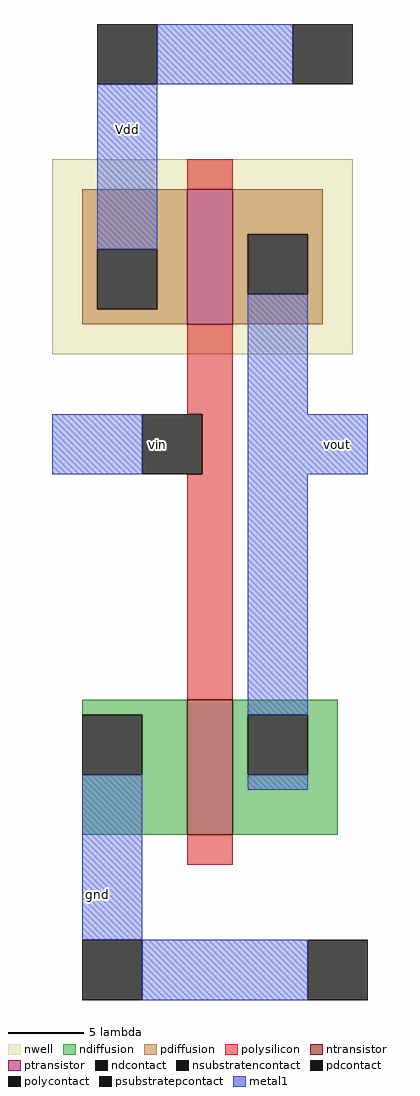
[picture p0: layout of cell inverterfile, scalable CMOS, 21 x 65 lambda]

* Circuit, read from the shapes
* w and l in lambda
.subckt inverterfile Vdd gnd vin vout
M1 vout vin gnd gnd nfet w=9 l=3
M2 vout vin Vdd n1 pfet w=9 l=3
.ends

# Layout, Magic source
magic
tech scmos
<< nwell >>
rect -8 -5 12 8
<< polysilicon >>
rect 1 6 4 8
rect 1 -9 4 -3
rect 2 -13 4 -9
rect 1 -28 4 -13
rect 1 -39 4 -37
<< ndiffusion >>
rect -6 -29 1 -28
rect -2 -33 1 -29
rect -6 -37 1 -33
rect 4 -29 11 -28
rect 4 -33 5 -29
rect 9 -33 11 -29
rect 4 -37 11 -33
<< pdiffusion >>
rect -6 2 1 6
rect -6 -2 -5 2
rect -1 -2 1 2
rect -6 -3 1 -2
rect 4 3 10 6
rect 4 -1 5 3
rect 9 -1 10 3
rect 4 -3 10 -1
<< metal1 >>
rect -1 13 8 17
rect -5 2 -1 13
rect 5 -9 9 -1
rect -8 -13 -2 -9
rect 5 -13 13 -9
rect 5 -29 9 -13
rect -6 -44 -2 -33
rect 5 -34 9 -33
rect -2 -48 9 -44
<< ntransistor >>
rect 1 -37 4 -28
<< ptransistor >>
rect 1 -3 4 6
<< polycontact >>
rect -2 -13 2 -9
<< ndcontact >>
rect -6 -33 -2 -29
rect 5 -33 9 -29
<< pdcontact >>
rect -5 -2 -1 2
rect 5 -1 9 3
<< psubstratepcontact >>
rect -6 -48 -2 -44
rect 9 -48 13 -44
<< nsubstratencontact >>
rect -5 13 -1 17
rect 8 13 12 17
<< labels >>
rlabel metal1 -3 10 -3 10 3 Vdd
rlabel polycontact -1 -11 -1 -11 1 vin
rlabel metal1 11 -11 11 -11 7 vout
rlabel metal1 -5 -41 -5 -41 3 gnd
<< end >>
